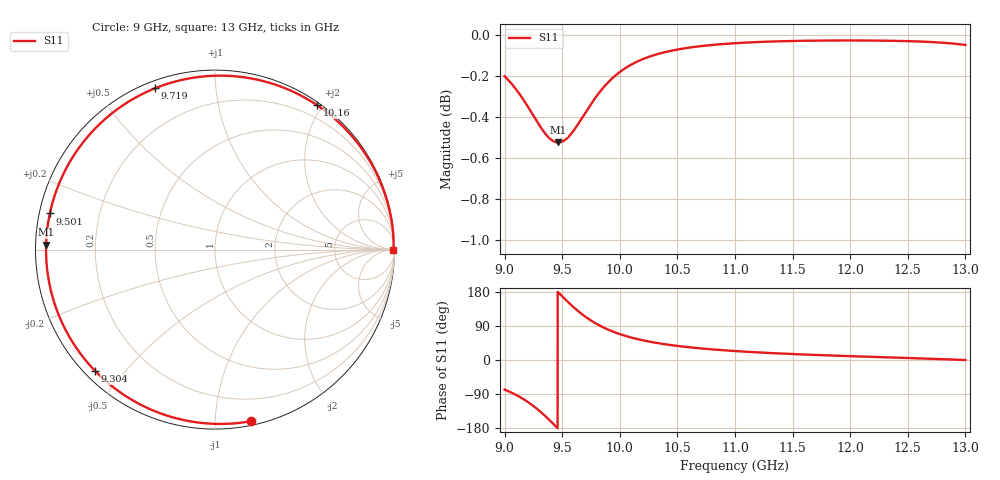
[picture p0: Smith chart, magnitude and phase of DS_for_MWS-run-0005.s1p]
! TOUCHSTONE file generated by CST DESIGN STUDIO
! Date and time: Tue Feb  4 14:20:51 2025
! Project name: C:\Work\MatlabApps\UnitCellOptimizationMatlab\CST\unitcell.cst
! Tree item: Tasks\Sweep1\SPara1\S-Parameters
! Header version: 2024
! Port assignment regex: !\s*Touchstone port\s*([0-9]+)\s*=\s*(CST MWS port|CST DES external port|CST DES block port)\s*(.+)\s* \(\"(.*)\"\)(\s*mode\s*([0-9]+))?.*
! Touchstone port assignment:
! Touchstone port 1 = CST DES external port 1 ("")
# GHz S MA R 50
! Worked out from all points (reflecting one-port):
!   4001 points, 9 GHz to 13 GHz, reference 50 ohm
!   lowest |S11| = -0.5 dB at 9.466 GHz (marker M1), VSWR 33.14, Z = 1.51 + j0.733 ohm
!   phase of S11 starts at -78 deg and turns -282 deg over the sweep
!   S11 on the Smith chart (normalised r, x): 9 GHz: 0.03, -1.23; 9.304 GHz: 0.03, -0.42; 9.501 GHz: 0.03, +0.11; 9.719 GHz: 0.03, +0.69; 10.16 GHz: 0.04, +1.94; 13 GHz: open
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9  0.977 -78.1
9.076  0.9717 -88.5
9.173  0.9633 -105.0
9.241  0.9566 -119.3
9.304  0.9504 -134.7
9.346  0.9467 -146.0
9.391  0.9436 -159.0
9.429  0.942 -170.4
9.466  0.9414 178.3
9.5  0.9419 167.9
9.501  0.9419 167.6
9.552  0.9442 152.5
9.612  0.9488 135.8
9.664  0.9537 122.7
9.719  0.959 110.4
9.774  0.9641 99.6
9.836  0.9692 89.1
9.916  0.9747 77.9
10  0.9793 68.4
10.161  0.9853 54.6
10.315  0.9889 45.3
10.5  0.9917 37.1
10.722  0.9937 30.0
11  0.9952 23.6
11.5  0.9965 15.7
12  0.9967 10.1
12.5  0.9964 5.3
13  0.9942 -0.1
